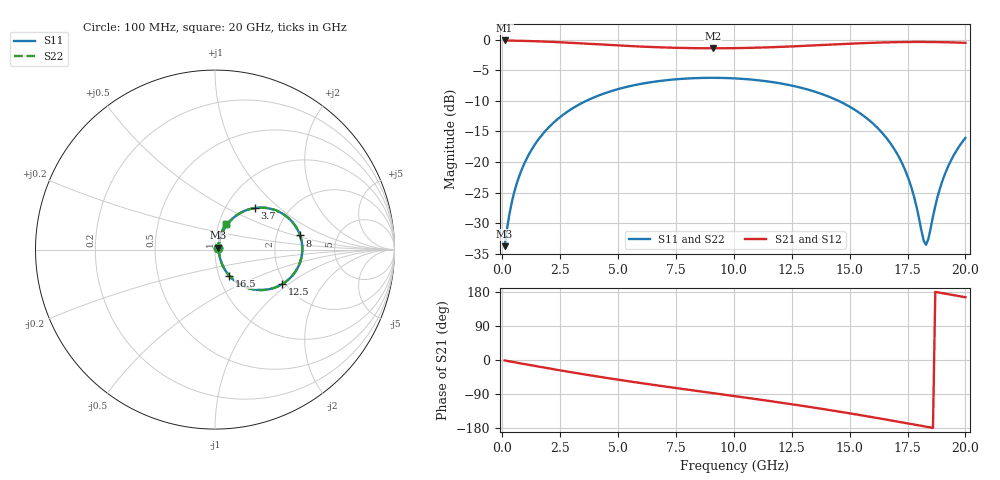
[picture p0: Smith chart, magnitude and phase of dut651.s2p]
! Touchstone file exported from HFSS 2026.1.0
!  File:  C:/ffzhzh/LocalFiles/Ansys_Project_Files/temp_train_TSV_RDL_651_1783129377_35180.aedt
!  Generated:  09:51:42 AM Jul  4, 2026
!  Design:  TSV_RDL
!  Project:  temp_train_TSV_RDL_651_1783129377_35180
! Variables:
!  h_bsmrdl = 3.02um
!  h_ox = 20um
!  h_rdl = 5um
!  h_sub = 55.92um
!  h_tmrdl = 3.89um
!  h_tsv = 55.92um
!  h_via = 3um
!  l_bsmrdl = 423.34um
!  l_sub = 3273.23um
!  l_tmrdl = 374.68um
!  m_sub = 200um
!  pitch = 41.8um
!  r_tsv = 12.67um
!  s_tmrdl = 10um
!  w_bsmrdl = 16.03um
!  w_sub = 500um
!  w_tmrdl = 18.8um
!  x_tsv_center1 = 384.08um
!  x_tsv_center2 = 823.45um
!  x_tsv_center3 = 1216.93um
!  x_tsv_center4 = 1656.3um
!  x_tsv_center5 = 2049.78um
!  x_tsv_center6 = 2489.15um
# GHz S MA R 50.000000
! Terminal data exported
! Port[1] = TM_RDL1_1_T1
! Port[2] = TM_RDL5_1_T1
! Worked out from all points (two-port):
!   200 points, 100 MHz to 20 GHz, reference 50 ohm
!   highest |S21| = -0.15 dB at 100 MHz (marker M1); lowest = -1.4 dB at 9.1 GHz (marker M2)
!   |S21| within 3 dB of the highest: start of sweep to end of sweep
!   lowest |S11| = -33.8 dB at 100 MHz (marker M3), VSWR 1.04, Z = 51.8 + j1.09 ohm
!   |S11| at or under -10 dB: start of sweep to 3.638 GHz; 14.51 GHz to end of sweep
!   |S22| runs from -33.8 to -6.3 dB; largest |S21 - S12| = 3.1e-14
!   S11 on the Smith chart (normalised r, x): 100 MHz: 1.04, +0.02; 3.7 GHz: 1.36, +0.70; 8 GHz: 2.72, +0.56; 12.5 GHz: 1.92, -0.90; 16.5 GHz: 1.12, -0.33; 20 GHz: 1.08, +0.32
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0.1  0.02051 30.8  0.9825 -1.2  0.9825 -1.2  0.02051 30.8
! Gamma 0 0 0 0
! Port Impedance 50 0 50 0
0.3  0.03676 56.2  0.9809 -3.5  0.9809 -3.5  0.03676 56.2
0.5  0.05516 63.4  0.9789 -5.7  0.9789 -5.7  0.05516 63.4
1.2  0.1199 66.3  0.9714 -13.4  0.9714 -13.4  0.1199 66.3
2.2  0.2082 59.6  0.9556 -24.2  0.9556 -24.2  0.2082 59.6
3.5  0.307 48.1  0.9281 -37.5  0.9281 -37.5  0.307 48.1
3.7  0.3203 46.3  0.9235 -39.5  0.9235 -39.5  0.3203 46.3
6.8  0.4586 19.3  0.8635 -68.0  0.8635 -68.0  0.4586 19.3
8  0.4805 9.5  0.8516 -78.2  0.8516 -78.2  0.4805 9.5
9.1  0.4865 0.6  0.8479 -87.4  0.8479 -87.4  0.4865 0.6
10.1  0.4806 -7.4  0.8506 -95.8  0.8506 -95.8  0.4806 -7.5
12.5  0.4205 -27.3  0.8781 -116.7  0.8781 -116.7  0.4205 -27.3
13.4  0.3801 -35.1  0.894 -125.1  0.894 -125.1  0.38 -35.1
15.2  0.2685 -51.0  0.9278 -142.7  0.9278 -142.7  0.2684 -51.0
16.5  0.1648 -61.4  0.947 -156.4  0.947 -156.4  0.1647 -61.4
16.7  0.1475 -62.6  0.9491 -158.5  0.9491 -158.5  0.1475 -62.6
17.5  0.07668 -63.3  0.9548 -167.2  0.9548 -167.2  0.07664 -63.3
17.8  0.05049 -57.8  0.9557 -170.5  0.9557 -170.5  0.05046 -57.8
18.2  0.02269 -18.7  0.9556 -174.8  0.9556 -174.8  0.02273 -18.5
18.3  0.02107 4.7  0.9554 -175.9  0.9554 -175.9  0.02113 4.8
19.1  0.07823 68.1  0.9508 175.3  0.9508 175.3  0.07831 68.0
20  0.1572 66.6  0.9398 165.7  0.9398 165.7  0.1572 66.5
